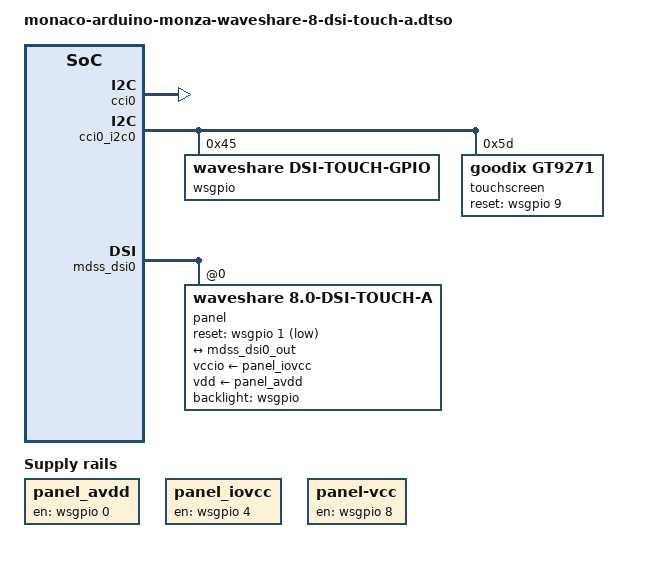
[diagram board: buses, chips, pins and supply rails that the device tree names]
// SPDX-License-Identifier: BSD-3-Clause
/*
 * Copyright (c) Qualcomm Technologies, Inc. and/or its subsidiaries.
 */

/dts-v1/;
/plugin/;

#include <dt-bindings/gpio/gpio.h>

&{/} {
	panel_avdd: regulator-panel-avdd {
		compatible = "regulator-fixed";
		regulator-name = "panel-avdd";
		gpios = <&wsgpio 0 GPIO_ACTIVE_HIGH>;
		enable-active-high;
	};

	panel_iovcc: regulator-panel-iovcc {
		compatible = "regulator-fixed";
		regulator-name = "panel-iovcc";
		gpios = <&wsgpio 4 GPIO_ACTIVE_HIGH>;
		enable-active-high;
	};

	regulator-panel-vcc {
		compatible = "regulator-fixed";
		regulator-name = "panel-vcc";
		gpios = <&wsgpio 8 GPIO_ACTIVE_HIGH>;
		enable-active-high;
		regulator-always-on;
	};
};

&adv7535 {
	status = "disabled";
};

&cci0 {
	pinctrl-0 = <&cci0_0_default>;
	pinctrl-1 = <&cci0_0_sleep>;
	pinctrl-names = "default", "sleep";
	status = "okay";
};

&cci0_i2c0 {
	#address-cells = <1>;
	#size-cells = <0>;

	wsgpio: gpio@45 {
		compatible = "waveshare,dsi-touch-gpio";
		reg = <0x45>;
		gpio-controller;
		#gpio-cells = <2>;
	};

	touchscreen@5d {
		compatible = "goodix,gt9271";
		reg = <0x5d>;
		reset-gpios = <&wsgpio 9 GPIO_ACTIVE_HIGH>;
	};
};

&hdmi_connector {
	status = "disabled";
};

&hdmi_mi2s_playback_dai_link {
	status = "disabled";
};

&mdss_dsi0 {
	#address-cells = <1>;
	#size-cells = <0>;

	panel@0 {
		compatible = "waveshare,8.0-dsi-touch-a", "jadard,jd9365da-h3";
		reg = <0>;
		backlight = <&wsgpio>;
		reset-gpios = <&wsgpio 1 GPIO_ACTIVE_LOW>;
		vccio-supply = <&panel_iovcc>;
		vdd-supply = <&panel_avdd>;

		port {
			panel_in: endpoint {
				remote-endpoint = <&mdss_dsi0_out>;
			};
		};
	};
};

&mdss_dsi0_out {
	remote-endpoint = <&panel_in>;
};
